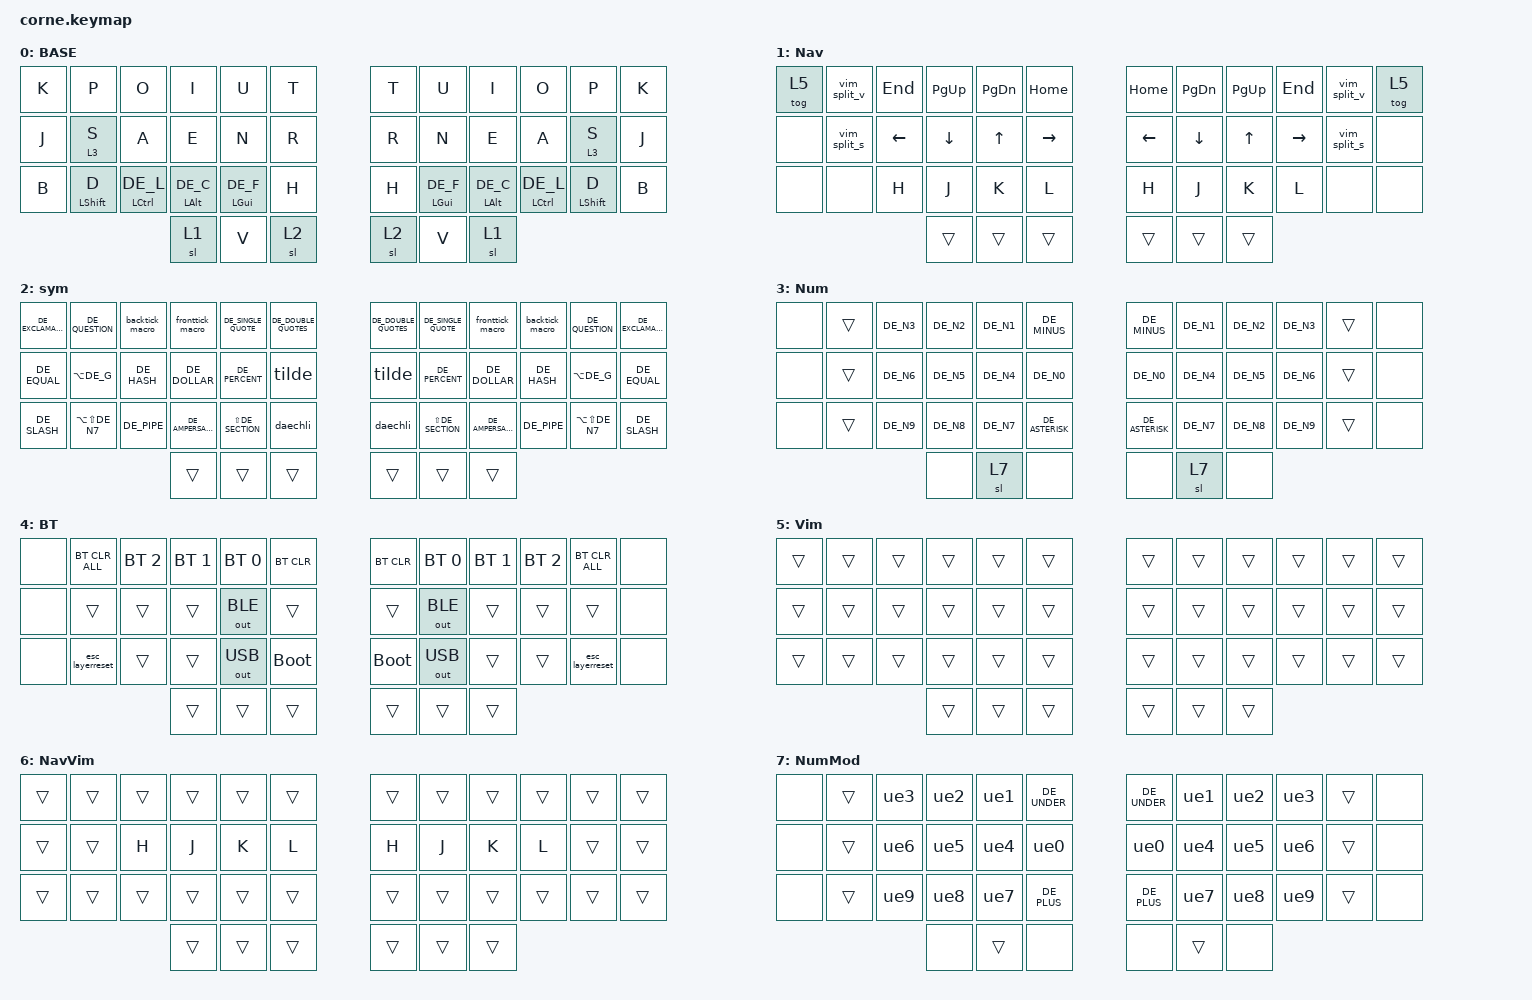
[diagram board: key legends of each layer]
#include "keys_de_swiss.h"
#include <behaviors.dtsi>
#include <dt-bindings/zmk/bt.h>
#include <dt-bindings/zmk/keys.h>
#include <dt-bindings/zmk/outputs.h>

//&default_transform { col-offset = <0>; };

#define BASE 0
#define NAV  1
#define SYM  2
#define ADJ  3

/ {
    combos {
        compatible = "zmk,combos";

        // BEGIN combos
        horiz_base_0_0 {
            bindings = <&kp DE_A_UMLAUT>;
            key-positions = <0 1>;
        };

        horiz_base_0_1 {
            bindings = <&kp DE_X>;
            key-positions = <1 2>;
        };

        horiz_base_0_2 {
            bindings = <&kp DE_W>;
            key-positions = <2 3>;
        };

        horiz_base_0_3 {
            bindings = <&kp DE_M>;
            key-positions = <3 4>;
        };

        horiz_base_0_4 {
            bindings = <&kp DE_Z>;
            key-positions = <4 5>;
        };

        horiz_base_0_7 {
            bindings = <&kp DE_Z>;
            key-positions = <7 6>;
        };

        horiz_base_0_8 {
            bindings = <&kp DE_M>;
            key-positions = <8 7>;
        };

        horiz_base_0_9 {
            bindings = <&kp DE_W>;
            key-positions = <9 8>;
        };

        horiz_base_0_10 {
            bindings = <&kp DE_X>;
            key-positions = <10 9>;
        };

        horiz_base_0_11 {
            bindings = <&kp DE_A_UMLAUT>;
            key-positions = <11 10>;
        };

        horiz_base_1_0 {
            bindings = <&kp DE_O_UMLAUT>;
            key-positions = <12 13>;
        };

        horiz_base_1_1 {
            bindings = <&kp DE_Q>;
            key-positions = <13 14>;
        };

        horiz_base_1_2 {
            bindings = <&kp TAB>;
            key-positions = <14 15>;
        };

        horiz_base_1_3 {
            bindings = <&kp DE_G>;
            key-positions = <15 16>;
        };

        horiz_base_1_4 {
            bindings = <&kp DE_Y>;
            key-positions = <16 17>;
        };

        horiz_base_1_7 {
            bindings = <&kp DE_Y>;
            key-positions = <19 18>;
        };

        horiz_base_1_8 {
            bindings = <&kp DE_G>;
            key-positions = <20 19>;
        };

        horiz_base_1_9 {
            bindings = <&kp TAB>;
            key-positions = <21 20>;
        };

        horiz_base_1_10 {
            bindings = <&kp DE_Q>;
            key-positions = <22 21>;
        };

        horiz_base_1_11 {
            bindings = <&kp DE_O_UMLAUT>;
            key-positions = <23 22>;
        };

        horiz_base_2_0 {
            bindings = <&kp DE_U_UMLAUT>;
            key-positions = <24 25>;
        };

        horiz_base_2_1 {
            bindings = <&kp DE_LESS_THAN>;
            key-positions = <25 26>;
        };

        horiz_base_2_2 {
            bindings = <&kp DE_GREATER_THAN>;
            key-positions = <26 27>;
        };

        horiz_base_2_3 {
            bindings = <&kp LA(DE_N8)>;
            key-positions = <27 28>;
        };

        horiz_base_2_4 {
            bindings = <&kp LA(DE_N9)>;
            key-positions = <28 29>;
        };

        horiz_base_2_7 {
            bindings = <&kp LA(DE_N8)>;
            key-positions = <31 30>;
        };

        horiz_base_2_8 {
            bindings = <&kp LA(DE_N9)>;
            key-positions = <32 31>;
        };

        horiz_base_2_9 {
            bindings = <&kp DE_LESS_THAN>;
            key-positions = <33 32>;
        };

        horiz_base_2_10 {
            bindings = <&kp DE_GREATER_THAN>;
            key-positions = <34 33>;
        };

        horiz_base_2_11 {
            bindings = <&kp DE_U_UMLAUT>;
            key-positions = <35 34>;
        };

        vert_base_0_0 {
            bindings = <&backspace_delete>;
            key-positions = <0 12>;
        };

        vert_base_0_1 {
            bindings = <&kp DE_LEFT_PARENTHESIS>;
            key-positions = <1 13>;
        };

        vert_base_0_2 {
            bindings = <&kp DE_RIGHT_PARENTHESIS>;
            key-positions = <2 14>;
        };

        vert_base_0_3 {
            bindings = <&esc_layerreset>;
            key-positions = <3 15>;
        };

        vert_base_0_4 {
            bindings = <&sk LEFT_ALT>;
            key-positions = <4 16>;
        };

        vert_base_0_5 {
            bindings = <&sk LEFT_GUI>;
            key-positions = <5 17>;
        };

        vert_base_0_6 {
            bindings = <&sk LEFT_GUI>;
            key-positions = <6 18>;
        };

        vert_base_0_7 {
            bindings = <&sk LEFT_ALT>;
            key-positions = <7 19>;
        };

        vert_base_0_8 {
            bindings = <&esc_layerreset>;
            key-positions = <8 20>;
        };

        vert_base_0_9 {
            bindings = <&kp DE_LEFT_PARENTHESIS>;
            key-positions = <9 21>;
        };

        vert_base_0_10 {
            bindings = <&kp DE_RIGHT_PARENTHESIS>;
            key-positions = <10 22>;
        };

        vert_base_0_11 {
            bindings = <&backspace_delete>;
            key-positions = <11 23>;
        };

        vert_base_1_0 {
            bindings = <&kp ENTER>;
            key-positions = <12 24>;
        };

        vert_base_1_1 {
            bindings = <&kp LA(DE_N5)>;
            key-positions = <13 25>;
        };

        vert_base_1_2 {
            bindings = <&kp LA(DE_N6)>;
            key-positions = <14 26>;
        };

        vert_base_1_3 {
            bindings = <&kp SPACE>;
            key-positions = <15 27>;
        };

        vert_base_1_4 {
            bindings = <&sk LEFT_SHIFT>;
            key-positions = <16 28>;
        };

        vert_base_1_5 {
            bindings = <&sk LCTRL>;
            key-positions = <17 29>;
        };

        vert_base_1_6 {
            bindings = <&sk LCTRL>;
            key-positions = <18 30>;
        };

        vert_base_1_7 {
            bindings = <&sk LEFT_SHIFT>;
            key-positions = <19 31>;
        };

        vert_base_1_8 {
            bindings = <&kp SPACE>;
            key-positions = <20 32>;
        };

        vert_base_1_9 {
            bindings = <&kp LA(DE_N5)>;
            key-positions = <21 33>;
        };

        vert_base_1_10 {
            bindings = <&kp LA(DE_N6)>;
            key-positions = <22 34>;
        };

        vert_base_1_11 {
            bindings = <&kp ENTER>;
            key-positions = <23 35>;
        };

        diag_down_base_0_3 {
            bindings = <&punkt_doppelpunkt>;
            key-positions = <3 16>;
        };

        diag_down_base_0_8 {
            bindings = <&punkt_doppelpunkt>;
            key-positions = <8 19>;
        };

        diag_down_base_1_3 {
            bindings = <&komma_strickpunkt>;
            key-positions = <15 28>;
        };

        diag_down_base_1_8 {
            bindings = <&komma_strickpunkt>;
            key-positions = <20 31>;
        };
        // END combos
    };

    macros {
        // BEGIN macros
        esc_layerreset: esc_layerreset {
            compatible = "zmk,behavior-macro";
            #binding-cells = <0>;
            bindings = <&kp ESCAPE &to 0>;
        };

        daechli: daechli {
            compatible = "zmk,behavior-macro";
            #binding-cells = <0>;
            bindings = <&kp DE_CARET &kp SPACE>;
        };

        tilde: tilde {
            compatible = "zmk,behavior-macro";
            #binding-cells = <0>;
            bindings = <&kp LA(DE_N) &kp SPACE>;
        };

        punkt_doppelpunkt: punkt_doppelpunkt {
            compatible = "zmk,behavior-mod-morph";
            #binding-cells = <0>;
            bindings = <&kp DE_DOT>, <&kp DE_COLON>;
            mods = <(MOD_LSFT)>;
        };

        komma_strickpunkt: komma_strickpunkt {
            compatible = "zmk,behavior-mod-morph";
            #binding-cells = <0>;
            bindings = <&kp DE_COMMA>, <&kp DE_SEMICOLON>;
            mods = <(MOD_LSFT)>;
        };

        M_UPPER_AEOEUE: AE {
            compatible = "zmk,behavior-macro-one-param";
            #binding-cells = <1>;
            bindings =
                <&kp CAPSLOCK>,
                <&macro_pause_for_release>,
                <&macro_param_1to1>,
                <&kp MACRO_PLACEHOLDER>,
                <&kp CAPSLOCK>;
            wait-ms = <80>;
            tap-ms = <80>;
        };

        M_UE: M_UE {
            compatible = "zmk,behavior-macro";
            #binding-cells = <0>;
            bindings = <&kp CAPSLOCK &kp DE_U_UMLAUT &kp CAPSLOCK>;
            wait-ms = <20>;
            tap-ms = <20>;
        };

        M_OE: M_OE {
            compatible = "zmk,behavior-macro";
            #binding-cells = <0>;
            bindings = <&kp CAPSLOCK &kp DE_O_UMLAUT &kp CAPSLOCK>;
            wait-ms = <100>;
            tap-ms = <100>;
        };

        backtick_macro: backtick_macro {
            compatible = "zmk,behavior-macro";
            #binding-cells = <0>;
            bindings = <&kp DE_GRAVE &kp SPACE>;
        };

        fronttick_macro: fronttick_macro {
            compatible = "zmk,behavior-macro";
            #binding-cells = <0>;
            bindings = <&kp RA(EQUAL) &kp SPACE>;
        };

        ue1: ue1 {
            compatible = "zmk,behavior-macro";
            #binding-cells = <0>;
            bindings = <&kp DE_U_UMLAUT &kp DE_N1>;
        };

        ue2: ue2 {
            compatible = "zmk,behavior-macro";
            #binding-cells = <0>;
            bindings = <&kp DE_U_UMLAUT &kp DE_N2>;
        };

        ue3: ue3 {
            compatible = "zmk,behavior-macro";
            #binding-cells = <0>;
            bindings = <&kp DE_U_UMLAUT &kp DE_N3>;
        };

        ue4: ue4 {
            compatible = "zmk,behavior-macro";
            #binding-cells = <0>;
            bindings = <&kp DE_U_UMLAUT &kp DE_N4>;
        };

        ue5: ue5 {
            compatible = "zmk,behavior-macro";
            #binding-cells = <0>;
            bindings = <&kp DE_U_UMLAUT &kp DE_N5>;
        };

        ue6: ue6 {
            compatible = "zmk,behavior-macro";
            #binding-cells = <0>;
            bindings = <&kp DE_U_UMLAUT &kp DE_N6>;
        };

        ue7: ue7 {
            compatible = "zmk,behavior-macro";
            #binding-cells = <0>;
            bindings = <&kp DE_U_UMLAUT &kp DE_N7>;
        };

        ue8: ue8 {
            compatible = "zmk,behavior-macro";
            #binding-cells = <0>;
            bindings = <&kp DE_U_UMLAUT &kp DE_N8>;
        };

        ue9: ue9 {
            compatible = "zmk,behavior-macro";
            #binding-cells = <0>;
            bindings = <&kp DE_U_UMLAUT &kp DE_N9>;
        };

        ue0: ue0 {
            compatible = "zmk,behavior-macro";
            #binding-cells = <0>;
            bindings = <&kp DE_U_UMLAUT &kp DE_N0>;
        };

        tmux_next_window: tmux_next_window {
            compatible = "zmk,behavior-macro";
            #binding-cells = <0>;
            bindings = <&kp DE_U_UMLAUT &kp DE_N>;
        };

        tmux_prev_window: tmux_prev_window {
            compatible = "zmk,behavior-macro";
            #binding-cells = <0>;
            bindings = <&kp DE_U_UMLAUT &kp DE_P>;
        };

        vim_split_v: vim_split_v {
            compatible = "zmk,behavior-macro";
            #binding-cells = <0>;
            bindings = <&kp LC(W) &kp V>;
        };

        vim_split_s: vim_split_s {
            compatible = "zmk,behavior-macro";
            #binding-cells = <0>;
            bindings = <&kp LC(W) &kp S>;
        };
        // END macros
    };

    behaviors {
        // BEGIN behaviors
        lh_ht: lh_ht {
            compatible = "zmk,behavior-hold-tap";
            #binding-cells = <2>;
            bindings = <&kp>, <&kp>;
            hold-trigger-key-positions = <6 7 8 9 10 11 18 19 20 21 22 23 30 31 32 33 34 35>;
            flavor = "balanced";
            hold-trigger-on-release;
            quick-tap-ms = <150>;
            global-quick-tap;
            tapping-term-ms = <200>;
        };

        rh_ht: rh_ht {
            compatible = "zmk,behavior-hold-tap";
            #binding-cells = <2>;
            bindings = <&kp>, <&kp>;
            hold-trigger-key-positions = <0 1 2 3 4 5 12 13 14 15 16 17 24 25 26 27 28 29>;
            flavor = "balanced";
            hold-trigger-on-release;
            quick-tap-ms = <150>;
            global-quick-tap;
            tapping-term-ms = <200>;
        };

        backspace_delete: backspace_delete {
            compatible = "zmk,behavior-mod-morph";
            #binding-cells = <0>;
            bindings = <&kp BACKSPACE>, <&kp DELETE>;
            mods = <(MOD_LSFT)>;
        };

        tmux_next_pre: tmux_next_pre {
            compatible = "zmk,behavior-mod-morph";
            #binding-cells = <0>;
            bindings = <&tmux_next_window>, <&tmux_prev_window>;
            mods = <(MOD_LSFT)>;
        };
        // END behaviors
    };

    keymap {
        compatible = "zmk,keymap";

        // BEGIN keymap
        BASE {
            display-name = "BASE";
            bindings = <
&kp K &kp P &kp O &kp I &kp U &kp T &kp T &kp U &kp I &kp O &kp P &kp K
&kp J &lt 3 S &kp A &kp E &kp N &kp R &kp R &kp N &kp E &kp A &lt 3 S &kp J
&kp B &lh_ht LEFT_SHIFT D &lh_ht LCTRL DE_L &lh_ht LEFT_ALT DE_C &lh_ht LEFT_GUI DE_F &kp H &kp H &rh_ht LEFT_GUI DE_F &rh_ht LEFT_ALT DE_C &rh_ht LCTRL DE_L &rh_ht LEFT_SHIFT D &kp B
&sl 1 &kp V &sl 2 &sl 2 &kp V &sl 1
            >;
        };

        Nav {
            display-name = "Nav";
            bindings = <
&tog 5 &vim_split_v &kp END &kp PG_UP &kp PG_DN &kp HOME &kp HOME &kp PG_DN &kp PG_UP &kp END &vim_split_v &tog 5
&none &vim_split_s &kp LEFT_ARROW &kp DOWN_ARROW &kp UP_ARROW &kp RIGHT_ARROW &kp LEFT_ARROW &kp DOWN_ARROW &kp UP_ARROW &kp RIGHT_ARROW &vim_split_s &none
&none &none &kp H &kp J &kp K &kp L &kp H &kp J &kp K &kp L &none &none
&trans &trans &trans &trans &trans &trans
            >;
        };

        sym {
            display-name = "sym";
            bindings = <
&kp DE_EXCLAMATION &kp DE_QUESTION &backtick_macro &fronttick_macro &kp DE_SINGLE_QUOTE &kp DE_DOUBLE_QUOTES &kp DE_DOUBLE_QUOTES &kp DE_SINGLE_QUOTE &fronttick_macro &backtick_macro &kp DE_QUESTION &kp DE_EXCLAMATION
&kp DE_EQUAL &kp LA(DE_G) &kp DE_HASH &kp DE_DOLLAR &kp DE_PERCENT &tilde &tilde &kp DE_PERCENT &kp DE_DOLLAR &kp DE_HASH &kp LA(DE_G) &kp DE_EQUAL
&kp DE_SLASH &kp LA(LS(DE_N7)) &kp DE_PIPE &kp DE_AMPERSAND &kp LS(DE_SECTION) &daechli &daechli &kp LS(DE_SECTION) &kp DE_AMPERSAND &kp DE_PIPE &kp LA(LS(DE_N7)) &kp DE_SLASH
&trans &trans &trans &trans &trans &trans
            >;
        };

        Num {
            display-name = "Num";
            bindings = <
&none &trans &kp DE_N3 &kp DE_N2 &kp DE_N1 &kp DE_MINUS &kp DE_MINUS &kp DE_N1 &kp DE_N2 &kp DE_N3 &trans &none
&none &trans &kp DE_N6 &kp DE_N5 &kp DE_N4 &kp DE_N0 &kp DE_N0 &kp DE_N4 &kp DE_N5 &kp DE_N6 &trans &none
&none &trans &kp DE_N9 &kp DE_N8 &kp DE_N7 &kp DE_ASTERISK &kp DE_ASTERISK &kp DE_N7 &kp DE_N8 &kp DE_N9 &trans &none
&none &sl 7 &none &none &sl 7 &none
            >;
        };

        BT {
            display-name = "BT";
            bindings = <
&none &bt BT_CLR_ALL &bt BT_SEL 2 &bt BT_SEL 1 &bt BT_SEL 0 &bt BT_CLR &bt BT_CLR &bt BT_SEL 0 &bt BT_SEL 1 &bt BT_SEL 2 &bt BT_CLR_ALL &none
&none &trans &trans &trans &out OUT_BLE &trans &trans &out OUT_BLE &trans &trans &trans &none
&none &esc_layerreset &trans &trans &out OUT_USB &bootloader &bootloader &out OUT_USB &trans &trans &esc_layerreset &none
&trans &trans &trans &trans &trans &trans
            >;
        };

        Vim {
            display-name = "Vim";
            bindings = <
&trans &trans &trans &trans &trans &trans &trans &trans &trans &trans &trans &trans
&trans &trans &trans &trans &trans &trans &trans &trans &trans &trans &trans &trans
&trans &trans &trans &trans &trans &trans &trans &trans &trans &trans &trans &trans
&trans &trans &trans &trans &trans &trans
            >;
        };

        NavVim {
            display-name = "NavVim";
            bindings = <
&trans &trans &trans &trans &trans &trans &trans &trans &trans &trans &trans &trans
&trans &trans &kp H &kp J &kp K &kp L &kp H &kp J &kp K &kp L &trans &trans
&trans &trans &trans &trans &trans &trans &trans &trans &trans &trans &trans &trans
&trans &trans &trans &trans &trans &trans
            >;
        };

        NumMod {
            display-name = "NumMod";
            bindings = <
&none &trans &ue3 &ue2 &ue1 &kp DE_UNDER &kp DE_UNDER &ue1 &ue2 &ue3 &trans &none
&none &trans &ue6 &ue5 &ue4 &ue0 &ue0 &ue4 &ue5 &ue6 &trans &none
&none &trans &ue9 &ue8 &ue7 &kp DE_PLUS &kp DE_PLUS &ue7 &ue8 &ue9 &trans &none
&none &trans &none &none &trans &none
            >;
        };
        // END keymap
    };

    conditional_layers {
        compatible = "zmk,conditional-layers";

        BT {
            if-layers = <1 2>;
            then-layer = <4>;
        };

        NavVim {
            if-layers = <1 5>;
            then-layer = <6>;
        };
    };
};
